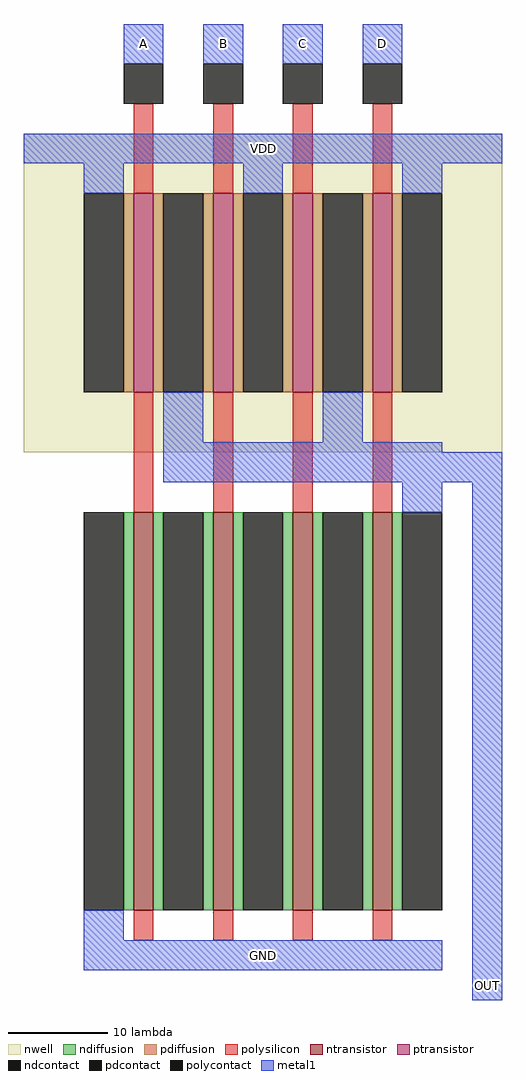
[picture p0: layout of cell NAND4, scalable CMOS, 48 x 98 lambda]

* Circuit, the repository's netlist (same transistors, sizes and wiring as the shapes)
* NGSPICE file created from NAND4.ext - technology: scmos

.global Vdd Gnd 


* Top level circuit NAND4

M1000 VDD D OUT w_n6_46# cmosp w=20u l=2u
+  ad=320p pd=152u as=240p ps=104u
M1001 OUT D a_23_0# Gnd cmosn w=40u l=2u
+  ad=200p pd=90u as=240p ps=92u
M1002 OUT A VDD w_n6_46# cmosp w=20u l=2u
+  ad=0p pd=0u as=0p ps=0u
M1003 a_15_0# B a_7_0# Gnd cmosn w=40u l=2u
+  ad=240p pd=92u as=240p ps=92u
M1004 VDD B OUT w_n6_46# cmosp w=20u l=2u
+  ad=0p pd=0u as=0p ps=0u
M1005 a_7_0# A GND Gnd cmosn w=40u l=2u
+  ad=0p pd=0u as=200p ps=90u
M1006 a_23_0# C a_15_0# Gnd cmosn w=40u l=2u
+  ad=0p pd=0u as=0p ps=0u
M1007 OUT C VDD w_n6_46# cmosp w=20u l=2u
+  ad=0p pd=0u as=0p ps=0u
.end

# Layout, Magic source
magic
tech scmos
<< nwell >>
rect -6 46 42 78
<< polysilicon >>
rect 5 72 7 81
rect 13 72 15 81
rect 21 72 23 81
rect 29 72 31 81
rect 5 40 7 52
rect 13 40 15 52
rect 21 40 23 52
rect 29 40 31 52
rect 5 -3 7 0
rect 13 -3 15 0
rect 21 -3 23 0
rect 29 -3 31 0
<< ndiffusion >>
rect 4 0 5 40
rect 7 0 8 40
rect 12 0 13 40
rect 15 0 16 40
rect 20 0 21 40
rect 23 0 24 40
rect 28 0 29 40
rect 31 0 32 40
<< pdiffusion >>
rect 4 52 5 72
rect 7 52 8 72
rect 12 52 13 72
rect 15 52 16 72
rect 20 52 21 72
rect 23 52 24 72
rect 28 52 29 72
rect 31 52 32 72
<< metal1 >>
rect 4 85 8 89
rect 12 85 16 89
rect 20 85 24 89
rect 28 85 32 89
rect -6 75 42 78
rect 0 72 4 75
rect 16 72 20 75
rect 32 72 36 75
rect 8 47 12 52
rect 24 47 28 52
rect 8 46 36 47
rect 8 43 42 46
rect 32 40 36 43
rect 0 -3 4 0
rect 0 -6 36 -3
rect 39 -9 42 43
<< ntransistor >>
rect 5 0 7 40
rect 13 0 15 40
rect 21 0 23 40
rect 29 0 31 40
<< ptransistor >>
rect 5 52 7 72
rect 13 52 15 72
rect 21 52 23 72
rect 29 52 31 72
<< polycontact >>
rect 4 81 8 85
rect 12 81 16 85
rect 20 81 24 85
rect 28 81 32 85
<< ndcontact >>
rect 0 0 4 40
rect 8 0 12 40
rect 16 0 20 40
rect 24 0 28 40
rect 32 0 36 40
<< pdcontact >>
rect 0 52 4 72
rect 8 52 12 72
rect 16 52 20 72
rect 24 52 28 72
rect 32 52 36 72
<< labels >>
rlabel metal1 -6 75 42 78 5 VDD
rlabel metal1 0 -6 36 -3 1 GND
rlabel metal1 4 85 8 89 5 A
rlabel metal1 12 85 16 89 5 B
rlabel metal1 20 85 24 89 5 C
rlabel metal1 28 85 32 89 5 D
rlabel metal1 39 -9 42 -6 8 OUT
<< end >>
